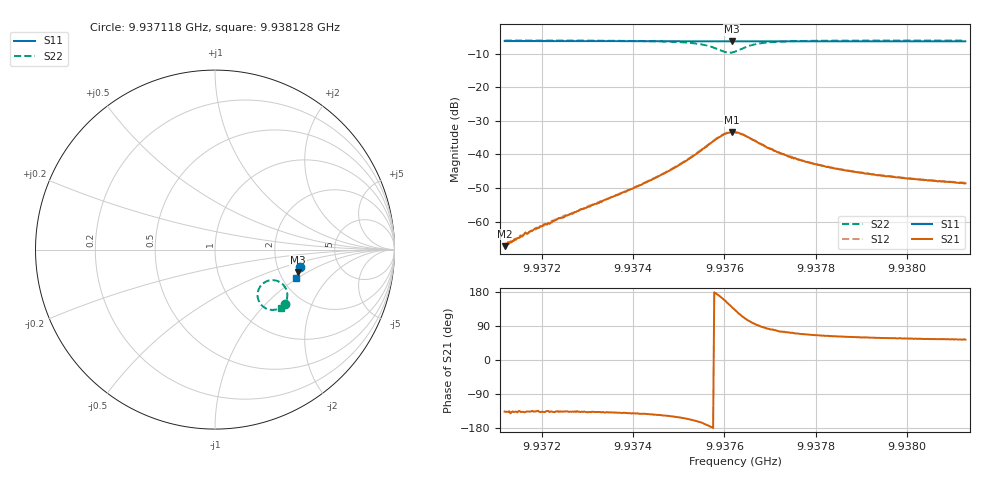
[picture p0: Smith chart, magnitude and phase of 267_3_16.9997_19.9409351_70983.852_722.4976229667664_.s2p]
#  HZ  S  RI  R  50.00
! Rohde & Schwarz Vector Network Analyzer
! Rohde-Schwarz,ZNB20-2Port,1311601062101988,3.16
! Created: UTC 3/20/2024, 11:04:02 PM
! freq[Hz]  re:S11  im:S11  re:S21  im:S21  re:S12  im:S12  re:S22  im:S22
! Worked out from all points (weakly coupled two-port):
!   401 points, 9.937118 GHz to 9.938128 GHz, reference 50 ohm
!   highest |S21| = -33.42 dB at 9.937616 GHz (marker M1); lowest = -67.3 dB at 9.937118 GHz (marker M2)
!   lowest |S11| = -6.4 dB at 9.937616 GHz (marker M3), VSWR 2.84, Z = 126 - j41.6 ohm
!   |S11| at or under -10 dB: nowhere
!   |S22| runs from -9.8 to -6.1 dB; largest |S21 - S12| = 0.001
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9.9371185e9  0.4748 -0.095  -0.000312 -0.0003  -0.00031 -0.000298  0.3925 -0.3009
9.9371362e9  0.4746 -0.0963  -0.000373 -0.000363  -0.00038 -0.000359  0.3915 -0.302
9.9371488e9  0.4743 -0.0974  -0.000404 -0.000401  -0.000439 -0.000399  0.3904 -0.3032
9.9372018e9  0.4732 -0.1007  -0.000632 -0.00059  -0.000636 -0.000595  0.3864 -0.3071
9.937227e9  0.4726 -0.1026  -0.000755 -0.000689  -0.000747 -0.000728  0.3842 -0.3092
9.9372876e9  0.4716 -0.1066  -0.00111 -0.00107  -0.00111 -0.00103  0.3782 -0.3143
9.9373885e9  0.4695 -0.1134  -0.00225 -0.00185  -0.00229 -0.00183  0.3634 -0.3242
9.9374567e9  0.4679 -0.1181  -0.0039 -0.00271  -0.00399 -0.00267  0.3456 -0.3318
9.9375122e9  0.4664 -0.1219  -0.00689 -0.00339  -0.00713 -0.00336  0.318 -0.3359
9.9375576e9  0.4647 -0.1249  -0.0124 -0.00234  -0.0128 -0.00223  0.2734 -0.3217
9.9375929e9  0.4631 -0.1265  -0.0182 0.00472  -0.0184 0.00548  0.2371 -0.257
9.9376056e9  0.4627 -0.1268  -0.0181 0.00979  -0.0183 0.0105  0.2445 -0.2185
9.9376156e9  0.4625 -0.1269  -0.0165 0.0135  -0.0161 0.0143  0.2648 -0.191
9.9376232e9  0.4627 -0.1272  -0.0142 0.0158  -0.0137 0.0164  0.2864 -0.1774
9.9376358e9  0.463 -0.1275  -0.0096 0.0175  -0.00909 0.0183  0.3245 -0.1703
9.937651e9  0.4631 -0.1284  -0.00463 0.0175  -0.00429 0.0178  0.361 -0.1811
9.9376813e9  0.4631 -0.1309  0.000605 0.014  0.000836 0.0141  0.395 -0.2178
9.9377418e9  0.4623 -0.1353  0.00274 0.00879  0.00304 0.00887  0.4024 -0.2646
9.9377923e9  0.461 -0.1388  0.00293 0.00668  0.00311 0.00669  0.3979 -0.2838
9.9378756e9  0.4591 -0.1443  0.00274 0.00489  0.00285 0.00493  0.3896 -0.3016
9.9379614e9  0.4569 -0.15  0.00253 0.00397  0.00261 0.00393  0.3821 -0.3127
9.9381279e9  0.4525 -0.1608  0.00219 0.00299  0.00229 0.003  0.3702 -0.3273
